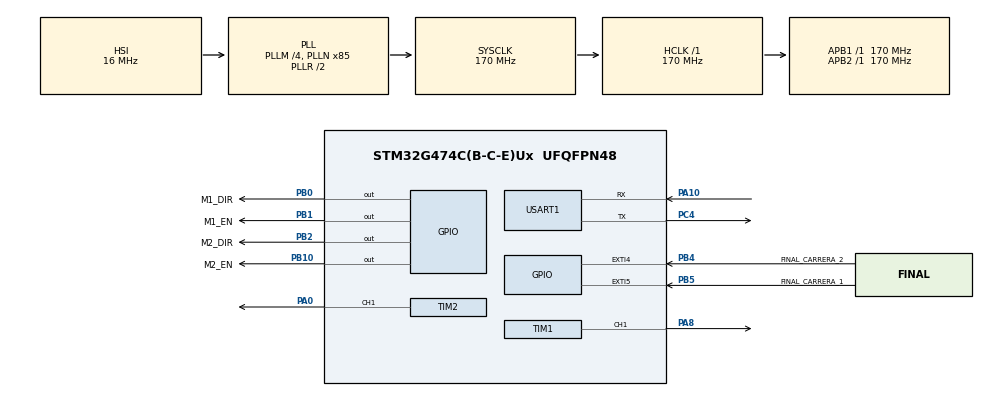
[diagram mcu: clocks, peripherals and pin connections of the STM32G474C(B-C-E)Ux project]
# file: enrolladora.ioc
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Dma.Request0=USART1_RX
Dma.Request1=USART1_TX
Dma.USART1_RX.0.Direction=DMA_PERIPH_TO_MEMORY
Dma.USART1_RX.0.EventEnable=DISABLE
Dma.USART1_RX.0.Instance=DMA1_Channel1
Dma.USART1_RX.0.MemDataAlignment=DMA_MDATAALIGN_BYTE
Dma.USART1_RX.0.MemInc=DMA_MINC_ENABLE
Dma.USART1_RX.0.Mode=DMA_CIRCULAR
Dma.USART1_RX.0.PeriphDataAlignment=DMA_PDATAALIGN_BYTE
Dma.USART1_RX.0.PeriphInc=DMA_PINC_DISABLE
Dma.USART1_RX.0.Polarity=HAL_DMAMUX_REQ_GEN_RISING
Dma.USART1_RX.0.Priority=DMA_PRIORITY_HIGH
Dma.USART1_RX.0.RequestNumber=1
Dma.USART1_RX.0.SignalID=NONE
Dma.USART1_RX.0.SyncEnable=DISABLE
Dma.USART1_RX.0.SyncPolarity=HAL_DMAMUX_SYNC_NO_EVENT
Dma.USART1_RX.0.SyncRequestNumber=1
Dma.USART1_RX.0.SyncSignalID=NONE
Dma.USART1_TX.1.Direction=DMA_MEMORY_TO_PERIPH
Dma.USART1_TX.1.EventEnable=DISABLE
Dma.USART1_TX.1.Instance=DMA1_Channel2
Dma.USART1_TX.1.MemDataAlignment=DMA_MDATAALIGN_BYTE
Dma.USART1_TX.1.MemInc=DMA_MINC_ENABLE
Dma.USART1_TX.1.Mode=DMA_NORMAL
Dma.USART1_TX.1.PeriphDataAlignment=DMA_PDATAALIGN_BYTE
Dma.USART1_TX.1.PeriphInc=DMA_PINC_DISABLE
Dma.USART1_TX.1.Polarity=HAL_DMAMUX_REQ_GEN_RISING
Dma.USART1_TX.1.Priority=DMA_PRIORITY_HIGH
Dma.USART1_TX.1.RequestNumber=1
Dma.USART1_TX.1.SignalID=NONE
Dma.USART1_TX.1.SyncEnable=DISABLE
Dma.USART1_TX.1.SyncPolarity=HAL_DMAMUX_SYNC_NO_EVENT
Dma.USART1_TX.1.SyncRequestNumber=1
Dma.USART1_TX.1.SyncSignalID=NONE
FREERTOS.Mutexes01=ProcessDataMutex,Dynamic,NULL,Available
FREERTOS.Queues01=RxSTM32Queue,16,64,1,Dynamic,NULL,NULL;TxSTM32Queue,8,128,1,Dynamic,NULL,NULL
FREERTOS.Tasks01=defaultTask,24,128,StartDefaultTask,Default,NULL,Dynamic,NULL,NULL;SafetyTask,40,512,StartSafetyTask,Default,NULL,Dynamic,NULL,NULL;MotionTask,24,768,StartMotionTask,Default,NULL,Dynamic,NULL,NULL;ControlTask,16,512,StartControlTask,Default,NULL,Dynamic,NULL,NULL;CommTask,24,768,StartCommTask,Default,NULL,Dynamic,NULL,NULL
FREERTOS.configCHECK_FOR_STACK_OVERFLOW=2
FREERTOS.configTOTAL_HEAP_SIZE=32768
FREERTOS.configUSE_MALLOC_FAILED_HOOK=1
FREERTOS.configUSE_NEWLIB_REENTRANT=1
Mcu.Family=STM32G4
Mcu.Name=STM32G474C(B-C-E)Ux
Mcu.Package=UFQFPN48
NVIC.DMA1_Channel1_IRQn=true\:5\:0\:false\:false\:true\:true\:false\:true\:true
NVIC.DMA1_Channel2_IRQn=true\:5\:0\:false\:false\:true\:true\:false\:true\:true
NVIC.EXTI4_IRQn=true\:5\:0\:true\:false\:true\:true\:true\:true\:true
NVIC.EXTI9_5_IRQn=true\:5\:0\:true\:false\:true\:true\:true\:true\:true
NVIC.PriorityGroup=NVIC_PRIORITYGROUP_4
NVIC.TIM6_DAC_IRQn=true\:15\:0\:false\:false\:true\:false\:false\:true\:true
NVIC.TimeBase=TIM6_DAC_IRQn
NVIC.TimeBaseIP=TIM6
NVIC.USART1_IRQn=true\:5\:0\:true\:false\:true\:true\:true\:true\:true
PA0.Signal=S_TIM2_CH1
PA10.Mode=Asynchronous
PA10.Signal=USART1_RX
PA13.Mode=Serial_Wire
PA13.Signal=SYS_JTMS-SWDIO
PA14.Mode=Serial_Wire
PA14.Signal=SYS_JTCK-SWCLK
PA8.Signal=S_TIM1_CH1
PB0.GPIO_Label=M1_DIR
PB0.Signal=GPIO_Output
PB1.GPIO_Label=M1_EN
PB1.PinState=GPIO_PIN_SET
PB1.Signal=GPIO_Output
PB10.GPIO_Label=M2_EN
PB10.PinState=GPIO_PIN_SET
PB10.Signal=GPIO_Output
PB2.GPIO_Label=M2_DIR
PB2.Signal=GPIO_Output
PB4.GPIO_Label=FINAL_CARRERA_2
PB4.GPIO_ModeDefaultEXTI=GPIO_MODE_IT_RISING_FALLING
PB4.GPIO_PuPd=GPIO_PULLUP
PB4.Signal=GPXTI4
PB5.GPIO_Label=FINAL_CARRERA_1
PB5.GPIO_ModeDefaultEXTI=GPIO_MODE_IT_RISING_FALLING
PB5.GPIO_PuPd=GPIO_PULLUP
PB5.Signal=GPXTI5
PC4.Mode=Asynchronous
PC4.Signal=USART1_TX
ProjectManager.HeapSize=0x200
ProjectManager.StackSize=0x400
ProjectManager.TargetToolchain=STM32CubeIDE
RCC.ADC12Freq_Value=170000000
RCC.ADC345Freq_Value=170000000
RCC.AHBFreq_Value=170000000
RCC.APB1Freq_Value=170000000
RCC.APB1TimFreq_Value=170000000
RCC.APB2Freq_Value=170000000
RCC.APB2TimFreq_Value=170000000
RCC.CortexFreq_Value=170000000
RCC.EXTERNAL_CLOCK_VALUE=12288000
RCC.HCLKFreq_Value=170000000
RCC.HSE_VALUE=8000000
RCC.HSI48_VALUE=48000000
RCC.HSI_VALUE=16000000
RCC.LSE_VALUE=32768
RCC.PLLM=RCC_PLLM_DIV4
RCC.PLLN=85
RCC.SYSCLKFreq_VALUE=170000000
RCC.SYSCLKSource=RCC_SYSCLKSOURCE_PLLCLK
RCC.USBFreq_Value=170000000
RCC.VCOOutputFreq_Value=340000000
SH.S_TIM1_CH1.0=TIM1_CH1,PWM Generation1 CH1
SH.S_TIM2_CH1.0=TIM2_CH1,PWM Generation1 CH1
TIM1.AutoReloadPreload=TIM_AUTORELOAD_PRELOAD_ENABLE
TIM1.Channel-PWM\ Generation1\ CH1=TIM_CHANNEL_1
TIM1.PeriodNoDither=999
TIM1.Prescaler=169
TIM1.PulseNoDither_1=500
TIM2.AutoReloadPreload=TIM_AUTORELOAD_PRELOAD_ENABLE
TIM2.Channel-PWM\ Generation1\ CH1=TIM_CHANNEL_1
TIM2.PeriodNoDither=999
TIM2.Prescaler=169
TIM2.PulseNoDither_1=500
USART1.VirtualMode-Asynchronous=VM_ASYNC
VP_FREERTOS_VS_CMSIS_V2.Mode=CMSIS_V2
VP_SYS_VS_DBSignals.Mode=DisableDeadBatterySignals
VP_SYS_VS_tim6.Mode=TIM6
VP_TIM1_VS_ClockSourceINT.Mode=Internal
VP_TIM2_VS_ClockSourceINT.Mode=Internal
board=custom

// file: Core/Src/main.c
/* USER CODE BEGIN Header */
/**
  ******************************************************************************
  * @file           : main.c
  * @brief          : Main program body
  ******************************************************************************
  * @attention
  *
  * Copyright (c) 2026 STMicroelectronics.
  * All rights reserved.
  *
  * This software is licensed under terms that can be found in the LICENSE file
  * in the root directory of this software component.
  * If no LICENSE file comes with this software, it is provided AS-IS.
  *
  ******************************************************************************
  */
/* USER CODE END Header */
#include "main.h"
#include "cmsis_os.h"
#include "process_data.h"
#include "safety.h"
#include "wrapper_fsm.h"
#include "uart_driver.h"
#include "protocol_extruder.h"
#include "motor_guide_control.h"
#include "motor_winder_control.h"

TIM_HandleTypeDef htim1;
TIM_HandleTypeDef htim2;

UART_HandleTypeDef huart1;
DMA_HandleTypeDef hdma_usart1_rx;
DMA_HandleTypeDef hdma_usart1_tx;

/* Definitions for defaultTask */
osThreadId_t defaultTaskHandle;
const osThreadAttr_t defaultTask_attributes = {
  .name = "defaultTask",
  .priority = (osPriority_t) osPriorityNormal,
  .stack_size = 128 * 4
};
/* Definitions for SafetyTask */
osThreadId_t SafetyTaskHandle;
const osThreadAttr_t SafetyTask_attributes = {
  .name = "SafetyTask",
  .priority = (osPriority_t) osPriorityHigh,
  .stack_size = 512 * 4
};
/* Definitions for MotionTask */
osThreadId_t MotionTaskHandle;
const osThreadAttr_t MotionTask_attributes = {
  .name = "MotionTask",
  .priority = (osPriority_t) osPriorityNormal,
  .stack_size = 768 * 4
};
/* Definitions for ControlTask */
osThreadId_t ControlTaskHandle;
const osThreadAttr_t ControlTask_attributes = {
  .name = "ControlTask",
  .priority = (osPriority_t) osPriorityBelowNormal,
  .stack_size = 512 * 4
};
/* Definitions for CommTask */
osThreadId_t CommTaskHandle;
const osThreadAttr_t CommTask_attributes = {
  .name = "CommTask",
  .priority = (osPriority_t) osPriorityNormal,
  .stack_size = 768 * 4
};
/* Definitions for RxSTM32Queue */
osMessageQueueId_t RxSTM32QueueHandle;
const osMessageQueueAttr_t RxSTM32Queue_attributes = {
  .name = "RxSTM32Queue"
};
/* Definitions for TxSTM32Queue */
osMessageQueueId_t TxSTM32QueueHandle;
const osMessageQueueAttr_t TxSTM32Queue_attributes = {
  .name = "TxSTM32Queue"
};
/* Definitions for ProcessDataMutex */
osMutexId_t ProcessDataMutexHandle;
const osMutexAttr_t ProcessDataMutex_attributes = {
  .name = "ProcessDataMutex"
};
/* USER CODE BEGIN PV */
static UartDriver_t uart_extruder;
/* USER CODE END PV */

void SystemClock_Config(void);
static void MX_GPIO_Init(void);
static void MX_DMA_Init(void);
static void MX_USART1_UART_Init(void);
static void MX_TIM1_Init(void);
static void MX_TIM2_Init(void);
void StartDefaultTask(void *argument);
void StartSafetyTask(void *argument);
void StartMotionTask(void *argument);
void StartControlTask(void *argument);
void StartCommTask(void *argument);

int main(void)
{

  /* MCU Configuration--------------------------------------------------------*/

  /* Reset of all peripherals, Initializes the Flash interface and the Systick. */
  HAL_Init();

  /* Configure the system clock */
  SystemClock_Config();

  /* Initialize all configured peripherals */
  MX_GPIO_Init();
  MX_DMA_Init();
  MX_USART1_UART_Init();
  MX_TIM1_Init();
  MX_TIM2_Init();
  /* USER CODE BEGIN 2 */
  ProcessData_Init();
  Safety_Init();
  WinderFSM_Init();
  MotorGuideControl_Init();
  MotorWinderControl_Init();
  /* USER CODE END 2 */

  /* Init scheduler */
  osKernelInitialize();
  /* Create the mutex(es) */
  /* creation of ProcessDataMutex */
  ProcessDataMutexHandle = osMutexNew(&ProcessDataMutex_attributes);

  /* Create the queue(s) */
  /* creation of RxSTM32Queue */
  RxSTM32QueueHandle = osMessageQueueNew (16, 64, &RxSTM32Queue_attributes);

  /* creation of TxSTM32Queue */
  TxSTM32QueueHandle = osMessageQueueNew (8, 128, &TxSTM32Queue_attributes);

  /* Create the thread(s) */
  /* creation of defaultTask */
  defaultTaskHandle = osThreadNew(StartDefaultTask, NULL, &defaultTask_attributes);

  /* creation of SafetyTask */
  SafetyTaskHandle = osThreadNew(StartSafetyTask, NULL, &SafetyTask_attributes);

  /* creation of MotionTask */
  MotionTaskHandle = osThreadNew(StartMotionTask, NULL, &MotionTask_attributes);

  /* creation of ControlTask */
  ControlTaskHandle = osThreadNew(StartControlTask, NULL, &ControlTask_attributes);

  /* creation of CommTask */
  CommTaskHandle = osThreadNew(StartCommTask, NULL, &CommTask_attributes);

  /* Start scheduler */
  osKernelStart();

  /* We should never get here as control is now taken by the scheduler */

  /* Infinite loop */
  while (1)
  {

  }
}

void SystemClock_Config(void)
{
  RCC_OscInitTypeDef RCC_OscInitStruct = {0};
  RCC_ClkInitTypeDef RCC_ClkInitStruct = {0};

  /** Configure the main internal regulator output voltage
  */
  HAL_PWREx_ControlVoltageScaling(PWR_REGULATOR_VOLTAGE_SCALE1_BOOST);

  /** Initializes the RCC Oscillators according to the specified parameters
  * in the RCC_OscInitTypeDef structure.
  */
  RCC_OscInitStruct.OscillatorType = RCC_OSCILLATORTYPE_HSI;
  RCC_OscInitStruct.HSIState = RCC_HSI_ON;
  RCC_OscInitStruct.HSICalibrationValue = RCC_HSICALIBRATION_DEFAULT;
  RCC_OscInitStruct.PLL.PLLState = RCC_PLL_ON;
  RCC_OscInitStruct.PLL.PLLSource = RCC_PLLSOURCE_HSI;
  RCC_OscInitStruct.PLL.PLLM = RCC_PLLM_DIV4;
  RCC_OscInitStruct.PLL.PLLN = 85;
  RCC_OscInitStruct.PLL.PLLP = RCC_PLLP_DIV2;
  RCC_OscInitStruct.PLL.PLLQ = RCC_PLLQ_DIV2;
  RCC_OscInitStruct.PLL.PLLR = RCC_PLLR_DIV2;
  if (HAL_RCC_OscConfig(&RCC_OscInitStruct) != HAL_OK)
  {
    Error_Handler();
  }

  /** Initializes the CPU, AHB and APB buses clocks
  */
  RCC_ClkInitStruct.ClockType = RCC_CLOCKTYPE_HCLK|RCC_CLOCKTYPE_SYSCLK
                              |RCC_CLOCKTYPE_PCLK1|RCC_CLOCKTYPE_PCLK2;
  RCC_ClkInitStruct.SYSCLKSource = RCC_SYSCLKSOURCE_PLLCLK;
  RCC_ClkInitStruct.AHBCLKDivider = RCC_SYSCLK_DIV1;
  RCC_ClkInitStruct.APB1CLKDivider = RCC_HCLK_DIV1;
  RCC_ClkInitStruct.APB2CLKDivider = RCC_HCLK_DIV1;

  if (HAL_RCC_ClockConfig(&RCC_ClkInitStruct, FLASH_LATENCY_4) != HAL_OK)
  {
    Error_Handler();
  }
}

static void MX_TIM1_Init(void)
{

  TIM_ClockConfigTypeDef sClockSourceConfig = {0};
  TIM_MasterConfigTypeDef sMasterConfig = {0};
  TIM_OC_InitTypeDef sConfigOC = {0};
  TIM_BreakDeadTimeConfigTypeDef sBreakDeadTimeConfig = {0};

  htim1.Instance = TIM1;
  htim1.Init.Prescaler = 169;
  htim1.Init.CounterMode = TIM_COUNTERMODE_UP;
  htim1.Init.Period = 999;
  htim1.Init.ClockDivision = TIM_CLOCKDIVISION_DIV1;
  htim1.Init.RepetitionCounter = 0;
  htim1.Init.AutoReloadPreload = TIM_AUTORELOAD_PRELOAD_ENABLE;
  if (HAL_TIM_Base_Init(&htim1) != HAL_OK)
  {
    Error_Handler();
  }
  sClockSourceConfig.ClockSource = TIM_CLOCKSOURCE_INTERNAL;
  if (HAL_TIM_ConfigClockSource(&htim1, &sClockSourceConfig) != HAL_OK)
  {
    Error_Handler();
  }
  if (HAL_TIM_PWM_Init(&htim1) != HAL_OK)
  {
    Error_Handler();
  }
  sMasterConfig.MasterOutputTrigger = TIM_TRGO_RESET;
  sMasterConfig.MasterOutputTrigger2 = TIM_TRGO2_RESET;
  sMasterConfig.MasterSlaveMode = TIM_MASTERSLAVEMODE_DISABLE;
  if (HAL_TIMEx_MasterConfigSynchronization(&htim1, &sMasterConfig) != HAL_OK)
  {
    Error_Handler();
  }
  sConfigOC.OCMode = TIM_OCMODE_PWM1;
  sConfigOC.Pulse = 500;
  sConfigOC.OCPolarity = TIM_OCPOLARITY_HIGH;
  sConfigOC.OCNPolarity = TIM_OCNPOLARITY_HIGH;
  sConfigOC.OCFastMode = TIM_OCFAST_DISABLE;
  sConfigOC.OCIdleState = TIM_OCIDLESTATE_RESET;
  sConfigOC.OCNIdleState = TIM_OCNIDLESTATE_RESET;
  if (HAL_TIM_PWM_ConfigChannel(&htim1, &sConfigOC, TIM_CHANNEL_1) != HAL_OK)
  {
    Error_Handler();
  }
  sBreakDeadTimeConfig.OffStateRunMode = TIM_OSSR_DISABLE;
  sBreakDeadTimeConfig.OffStateIDLEMode = TIM_OSSI_DISABLE;
  sBreakDeadTimeConfig.LockLevel = TIM_LOCKLEVEL_OFF;
  sBreakDeadTimeConfig.DeadTime = 0;
  sBreakDeadTimeConfig.BreakState = TIM_BREAK_DISABLE;
  sBreakDeadTimeConfig.BreakPolarity = TIM_BREAKPOLARITY_HIGH;
  sBreakDeadTimeConfig.BreakFilter = 0;
  sBreakDeadTimeConfig.BreakAFMode = TIM_BREAK_AFMODE_INPUT;
  sBreakDeadTimeConfig.Break2State = TIM_BREAK2_DISABLE;
  sBreakDeadTimeConfig.Break2Polarity = TIM_BREAK2POLARITY_HIGH;
  sBreakDeadTimeConfig.Break2Filter = 0;
  sBreakDeadTimeConfig.Break2AFMode = TIM_BREAK_AFMODE_INPUT;
  sBreakDeadTimeConfig.AutomaticOutput = TIM_AUTOMATICOUTPUT_DISABLE;
  if (HAL_TIMEx_ConfigBreakDeadTime(&htim1, &sBreakDeadTimeConfig) != HAL_OK)
  {
    Error_Handler();
  }
  HAL_TIM_MspPostInit(&htim1);

}

static void MX_TIM2_Init(void)
{

  TIM_ClockConfigTypeDef sClockSourceConfig = {0};
  TIM_MasterConfigTypeDef sMasterConfig = {0};
  TIM_OC_InitTypeDef sConfigOC = {0};

  htim2.Instance = TIM2;
  htim2.Init.Prescaler = 169;
  htim2.Init.CounterMode = TIM_COUNTERMODE_UP;
  htim2.Init.Period = 999;
  htim2.Init.ClockDivision = TIM_CLOCKDIVISION_DIV1;
  htim2.Init.AutoReloadPreload = TIM_AUTORELOAD_PRELOAD_ENABLE;
  if (HAL_TIM_Base_Init(&htim2) != HAL_OK)
  {
    Error_Handler();
  }
  sClockSourceConfig.ClockSource = TIM_CLOCKSOURCE_INTERNAL;
  if (HAL_TIM_ConfigClockSource(&htim2, &sClockSourceConfig) != HAL_OK)
  {
    Error_Handler();
  }
  if (HAL_TIM_PWM_Init(&htim2) != HAL_OK)
  {
    Error_Handler();
  }
  sMasterConfig.MasterOutputTrigger = TIM_TRGO_RESET;
  sMasterConfig.MasterSlaveMode = TIM_MASTERSLAVEMODE_DISABLE;
  if (HAL_TIMEx_MasterConfigSynchronization(&htim2, &sMasterConfig) != HAL_OK)
  {
    Error_Handler();
  }
  sConfigOC.OCMode = TIM_OCMODE_PWM1;
  sConfigOC.Pulse = 500;
  sConfigOC.OCPolarity = TIM_OCPOLARITY_HIGH;
  sConfigOC.OCFastMode = TIM_OCFAST_DISABLE;
  if (HAL_TIM_PWM_ConfigChannel(&htim2, &sConfigOC, TIM_CHANNEL_1) != HAL_OK)
  {
    Error_Handler();
  }
  HAL_TIM_MspPostInit(&htim2);

}

static void MX_USART1_UART_Init(void)
{

  huart1.Instance = USART1;
  huart1.Init.BaudRate = 115200;
  huart1.Init.WordLength = UART_WORDLENGTH_8B;
  huart1.Init.StopBits = UART_STOPBITS_1;
  huart1.Init.Parity = UART_PARITY_NONE;
  huart1.Init.Mode = UART_MODE_TX_RX;
  huart1.Init.HwFlowCtl = UART_HWCONTROL_NONE;
  huart1.Init.OverSampling = UART_OVERSAMPLING_16;
  huart1.Init.OneBitSampling = UART_ONE_BIT_SAMPLE_DISABLE;
  huart1.Init.ClockPrescaler = UART_PRESCALER_DIV1;
  huart1.AdvancedInit.AdvFeatureInit = UART_ADVFEATURE_NO_INIT;
  if (HAL_UART_Init(&huart1) != HAL_OK)
  {
    Error_Handler();
  }
  if (HAL_UARTEx_SetTxFifoThreshold(&huart1, UART_TXFIFO_THRESHOLD_1_8) != HAL_OK)
  {
    Error_Handler();
  }
  if (HAL_UARTEx_SetRxFifoThreshold(&huart1, UART_RXFIFO_THRESHOLD_1_8) != HAL_OK)
  {
    Error_Handler();
  }
  if (HAL_UARTEx_DisableFifoMode(&huart1) != HAL_OK)
  {
    Error_Handler();
  }

}

static void MX_DMA_Init(void)
{

  /* DMA controller clock enable */
  __HAL_RCC_DMAMUX1_CLK_ENABLE();
  __HAL_RCC_DMA1_CLK_ENABLE();

  /* DMA interrupt init */
  /* DMA1_Channel1_IRQn interrupt configuration */
  HAL_NVIC_SetPriority(DMA1_Channel1_IRQn, 5, 0);
  HAL_NVIC_EnableIRQ(DMA1_Channel1_IRQn);
  /* DMA1_Channel2_IRQn interrupt configuration */
  HAL_NVIC_SetPriority(DMA1_Channel2_IRQn, 5, 0);
  HAL_NVIC_EnableIRQ(DMA1_Channel2_IRQn);

}

static void MX_GPIO_Init(void)
{
  GPIO_InitTypeDef GPIO_InitStruct = {0};

  /* GPIO Ports Clock Enable */
  __HAL_RCC_GPIOA_CLK_ENABLE();
  __HAL_RCC_GPIOC_CLK_ENABLE();
  __HAL_RCC_GPIOB_CLK_ENABLE();

  /*Configure GPIO pin Output Level */
  HAL_GPIO_WritePin(GPIOB, M1_DIR_Pin|M2_DIR_Pin, GPIO_PIN_RESET);

  /*Configure GPIO pin Output Level */
  HAL_GPIO_WritePin(GPIOB, M1_EN_Pin|M2_EN_Pin, GPIO_PIN_SET);

  /*Configure GPIO pins : M1_DIR_Pin M1_EN_Pin M2_DIR_Pin M2_EN_Pin */
  GPIO_InitStruct.Pin = M1_DIR_Pin|M1_EN_Pin|M2_DIR_Pin|M2_EN_Pin;
  GPIO_InitStruct.Mode = GPIO_MODE_OUTPUT_PP;
  GPIO_InitStruct.Pull = GPIO_NOPULL;
  GPIO_InitStruct.Speed = GPIO_SPEED_FREQ_LOW;
  HAL_GPIO_Init(GPIOB, &GPIO_InitStruct);

  /*Configure GPIO pins : FINAL_CARRERA_2_Pin FINAL_CARRERA_1_Pin */
  GPIO_InitStruct.Pin = FINAL_CARRERA_2_Pin|FINAL_CARRERA_1_Pin;
  GPIO_InitStruct.Mode = GPIO_MODE_IT_RISING_FALLING;
  GPIO_InitStruct.Pull = GPIO_PULLUP;
  HAL_GPIO_Init(GPIOB, &GPIO_InitStruct);

  /* EXTI interrupt init*/
  HAL_NVIC_SetPriority(EXTI4_IRQn, 5, 0);
  HAL_NVIC_EnableIRQ(EXTI4_IRQn);

  HAL_NVIC_SetPriority(EXTI9_5_IRQn, 5, 0);
  HAL_NVIC_EnableIRQ(EXTI9_5_IRQn);

}

void StartDefaultTask(void *argument)
{
  for(;;)
  {
    osDelay(1);
  }
}

void StartSafetyTask(void *argument)
{
  /* USER CODE BEGIN StartSafetyTask */
  /* Infinite loop */
  for(;;)
  {
	  Safety_Update();
	  osDelay(10);
  }
  /* USER CODE END StartSafetyTask */
}

void StartMotionTask(void *argument)
{
  /* USER CODE BEGIN StartMotionTask */

    for (;;)
    {
        MotorGuideControl_Update();
        MotorWinderControl_Update();

        osDelay(10);
    }

  /* USER CODE END StartMotionTask */
}

void StartControlTask(void *argument)
{
  /* USER CODE BEGIN StartControlTask */
  /* Infinite loop */
  for(;;)
  {
      WinderFSM_Update();
      osDelay(10);
  }
  /* USER CODE END StartControlTask */
}

/* USER CODE END Header_StartCommTask */
void StartCommTask(void *argument)
{
  /* USER CODE BEGIN StartCommTask */
    char line[128];

    UartDriver_Init(&uart_extruder, &huart1, "EXTRUDER");
    ProtocolExtruder_Init(&uart_extruder);
    /* Infinite loop */
    for (;;)
        {
            UartDriver_Service(&uart_extruder);

            while (UartDriver_ReadLine(&uart_extruder, line, sizeof(line), 0))
            {
            	ProtocolExtruder_ProcessLine(line);
            }

            osThreadFlagsWait(
                UART_DRIVER_FLAG_RX |
                UART_DRIVER_FLAG_TX |
                UART_DRIVER_FLAG_ERR,
                osFlagsWaitAny,
                1
            );
        }
  /* USER CODE END StartCommTask */
}

void HAL_TIM_PeriodElapsedCallback(TIM_HandleTypeDef *htim)
{
  if (htim->Instance == TIM6)
  {
    HAL_IncTick();
  }
}

void Error_Handler(void)
{
  __disable_irq();
  while (1)
  {
  }
}
